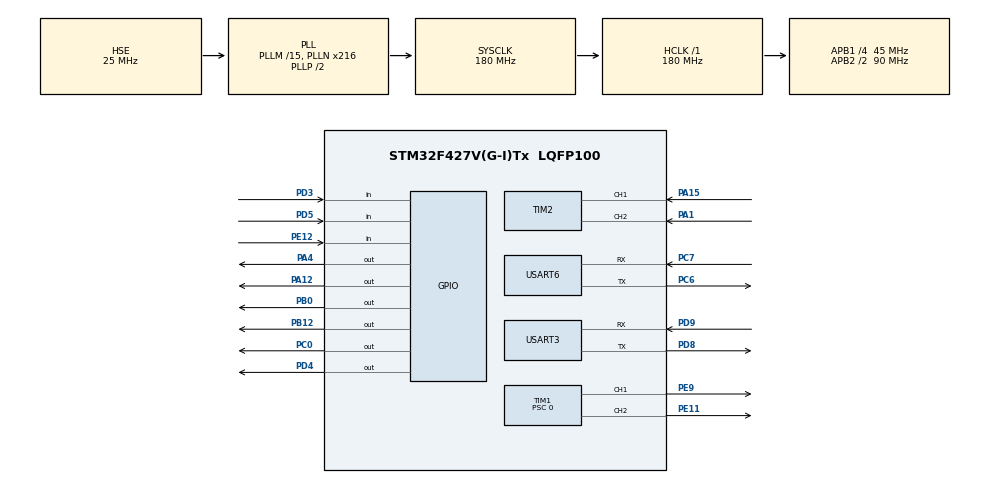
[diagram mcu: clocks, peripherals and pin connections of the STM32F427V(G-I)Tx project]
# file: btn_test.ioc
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Dma.Request0=USART6_RX
Dma.Request1=USART6_TX
Dma.USART6_RX.0.Direction=DMA_PERIPH_TO_MEMORY
Dma.USART6_RX.0.FIFOMode=DMA_FIFOMODE_DISABLE
Dma.USART6_RX.0.Instance=DMA2_Stream1
Dma.USART6_RX.0.MemDataAlignment=DMA_MDATAALIGN_BYTE
Dma.USART6_RX.0.MemInc=DMA_MINC_ENABLE
Dma.USART6_RX.0.Mode=DMA_NORMAL
Dma.USART6_RX.0.PeriphDataAlignment=DMA_PDATAALIGN_BYTE
Dma.USART6_RX.0.PeriphInc=DMA_PINC_DISABLE
Dma.USART6_RX.0.Priority=DMA_PRIORITY_LOW
Dma.USART6_TX.1.Direction=DMA_MEMORY_TO_PERIPH
Dma.USART6_TX.1.FIFOMode=DMA_FIFOMODE_DISABLE
Dma.USART6_TX.1.Instance=DMA2_Stream6
Dma.USART6_TX.1.MemDataAlignment=DMA_MDATAALIGN_BYTE
Dma.USART6_TX.1.MemInc=DMA_MINC_ENABLE
Dma.USART6_TX.1.Mode=DMA_NORMAL
Dma.USART6_TX.1.PeriphDataAlignment=DMA_PDATAALIGN_BYTE
Dma.USART6_TX.1.PeriphInc=DMA_PINC_DISABLE
Dma.USART6_TX.1.Priority=DMA_PRIORITY_LOW
FREERTOS.Queues01=BtnQueue,16,uint16_t,0,Dynamic,NULL,NULL;EncoderQueue,16,double,0,Dynamic,NULL,NULL
FREERTOS.Tasks01=BtnTask,8,128,StartBtnTask,As weak,NULL,Dynamic,NULL,NULL;MotorTask,24,128,StartMotorTask,As external,NULL,Dynamic,NULL,NULL;PIDTask,32,128,StartPIDTask,As external,NULL,Dynamic,NULL,NULL;GetPIDTask,40,128,StartGetPIDTask,As external,NULL,Dynamic,NULL,NULL
Mcu.Family=STM32F4
Mcu.Name=STM32F427V(G-I)Tx
Mcu.Package=LQFP100
NVIC.DMA2_Stream1_IRQn=true\:5\:0\:false\:false\:true\:true\:false\:true\:true
NVIC.DMA2_Stream6_IRQn=true\:5\:0\:false\:false\:true\:true\:false\:true\:true
NVIC.PriorityGroup=NVIC_PRIORITYGROUP_4
NVIC.TIM1_BRK_TIM9_IRQn=true\:5\:0\:false\:false\:true\:true\:true\:true\:true
NVIC.TIM2_IRQn=true\:5\:0\:false\:false\:true\:true\:true\:true\:true
NVIC.TIM7_IRQn=true\:15\:0\:false\:false\:true\:false\:false\:true\:true
NVIC.TimeBase=TIM7_IRQn
NVIC.TimeBaseIP=TIM7
NVIC.USART3_IRQn=true\:5\:0\:false\:false\:true\:true\:true\:true\:true
NVIC.USART6_IRQn=true\:5\:0\:false\:false\:true\:true\:true\:true\:true
PA1.Signal=S_TIM2_CH2
PA12.Signal=GPIO_Output
PA13.Mode=Serial_Wire
PA13.Signal=SYS_JTMS-SWDIO
PA14.Mode=Serial_Wire
PA14.Signal=SYS_JTCK-SWCLK
PA15.Signal=S_TIM2_CH1_ETR
PA4.GPIO_PuPd=GPIO_NOPULL
PA4.Signal=GPIO_Output
PB0.GPIO_PuPd=GPIO_NOPULL
PB0.Signal=GPIO_Output
PB12.Signal=GPIO_Output
PC0.GPIO_ModeDefaultOutputPP=GPIO_MODE_OUTPUT_OD
PC0.GPIO_PuPd=GPIO_PULLUP
PC0.Signal=GPIO_Output
PC6.Mode=Asynchronous
PC6.Signal=USART6_TX
PC7.Mode=Asynchronous
PC7.Signal=USART6_RX
PD3.GPIO_PuPd=GPIO_PULLUP
PD3.Signal=GPIO_Input
PD4.GPIO_PuPd=GPIO_PULLDOWN
PD4.Signal=GPIO_Output
PD5.GPIO_PuPd=GPIO_PULLUP
PD5.Signal=GPIO_Input
PD8.Mode=Asynchronous
PD8.Signal=USART3_TX
PD9.Mode=Asynchronous
PD9.Signal=USART3_RX
PE11.Signal=S_TIM1_CH2
PE12.GPIO_PuPd=GPIO_PULLUP
PE12.Signal=GPIO_Input
PE9.Signal=S_TIM1_CH1
PH0/OSC_IN.Mode=HSE-External-Clock-Source
PH0/OSC_IN.Signal=RCC_OSC_IN
PH1/OSC_OUT.Mode=HSE-External-Clock-Source
PH1/OSC_OUT.Signal=RCC_OSC_OUT
ProjectManager.HeapSize=0x200
ProjectManager.StackSize=0x400
ProjectManager.TargetToolchain=Makefile
RCC.48MHZClocksFreq_Value=90000000
RCC.AHBFreq_Value=180000000
RCC.APB1CLKDivider=RCC_HCLK_DIV4
RCC.APB1Freq_Value=45000000
RCC.APB1TimFreq_Value=90000000
RCC.APB2CLKDivider=RCC_HCLK_DIV2
RCC.APB2Freq_Value=90000000
RCC.APB2TimFreq_Value=180000000
RCC.CortexFreq_Value=180000000
RCC.HCLKFreq_Value=180000000
RCC.HSE_VALUE=25000000
RCC.HSI_VALUE=16000000
RCC.LSE_VALUE=32768
RCC.PLLM=15
RCC.PLLN=216
RCC.PLLSourceVirtual=RCC_PLLSOURCE_HSE
RCC.SYSCLKFreq_VALUE=180000000
RCC.SYSCLKSource=RCC_SYSCLKSOURCE_PLLCLK
RCC.VCOOutputFreq_Value=360000000
SH.S_TIM1_CH1.0=TIM1_CH1,PWM Generation1 CH1
SH.S_TIM1_CH2.0=TIM1_CH2,PWM Generation2 CH2
SH.S_TIM2_CH1_ETR.0=TIM2_CH1,Encoder_Interface
SH.S_TIM2_CH2.0=TIM2_CH2,Encoder_Interface
TIM1.Channel-PWM\ Generation1\ CH1=TIM_CHANNEL_1
TIM1.Channel-PWM\ Generation2\ CH2=TIM_CHANNEL_2
TIM1.Period=8999
TIM1.Prescaler=0
TIM14.Period=9999
TIM14.Prescaler=89
TIM9.Period=9999
TIM9.Prescaler=179
USART3.VirtualMode=VM_ASYNC
USART6.VirtualMode=VM_ASYNC
VP_FREERTOS_VS_CMSIS_V2.Mode=CMSIS_V2
VP_SYS_VS_tim7.Mode=TIM7
VP_TIM14_VS_ClockSourceINT.Mode=Enable_Timer
VP_TIM1_VS_ClockSourceINT.Mode=Internal
VP_TIM9_VS_ClockSourceINT.Mode=Internal
board=custom

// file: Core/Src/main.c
/* USER CODE BEGIN Header */
/**
 ******************************************************************************
 * @file           : main.c
 * @brief          : Main program body
 ******************************************************************************
 * @attention
 *
 * Copyright (c) 2026 STMicroelectronics.
 * All rights reserved.
 *
 * This software is licensed under terms that can be found in the LICENSE file
 * in the root directory of this software component.
 * If no LICENSE file comes with this software, it is provided AS-IS.
 *
 ******************************************************************************
 */
/* USER CODE END Header */
#include "main.h"
#include "cmsis_os.h"
#include "dma.h"
#include "tim.h"
#include "usart.h"
#include "gpio.h"

/* USER CODE BEGIN Includes */
#include "multi_button.h"
#include "Emm_V5.h"
#include "motor.h"
#include "pid.h"
#include "stdio.h"
#include "stdlib.h"

/* USER CODE END Includes */

void SystemClock_Config(void);
void MX_FREERTOS_Init(void);

/* USER CODE BEGIN 0 */
uint8_t RxData;
int _write(int file, char *ptr, int len)
{
  HAL_UART_Transmit(&huart3, (uint8_t *)ptr, len, HAL_MAX_DELAY);
  return len;
}

/* USER CODE END 0 */

int main(void)
{

  /* MCU Configuration--------------------------------------------------------*/

  /* Reset of all peripherals, Initializes the Flash interface and the Systick. */
  HAL_Init();

  /* Configure the system clock */
  SystemClock_Config();

  /* USER CODE BEGIN SysInit */
  HAL_Delay(1000);

  /* USER CODE END SysInit */

  /* Initialize all configured peripherals */
  MX_GPIO_Init();
  MX_DMA_Init();
  MX_USART6_UART_Init();
  MX_TIM2_Init();
  MX_TIM1_Init();
  MX_TIM9_Init();
  MX_USART3_UART_Init();
  MX_TIM14_Init();
  /* USER CODE BEGIN 2 */

  HAL_TIM_PWM_Start(&htim1, TIM_CHANNEL_1);
  HAL_TIM_PWM_Start(&htim1, TIM_CHANNEL_2);
  // HAL_TIM_Base_Start_IT(&htim2);
  HAL_TIM_Encoder_Start(&htim2, TIM_CHANNEL_ALL);
  HAL_TIM_Base_Start_IT(&htim9);

  setvbuf(stdout, NULL, _IONBF, 0);
  HAL_UART_Receive_IT(&huart3, &RxData, 1);

  // __HAL_TIM_SET_COMPARE(&htim1, TIM_CHANNEL_1, 2000);
  // HAL_GPIO_WritePin(GPIOD, GPIO_PIN_4, GPIO_PIN_SET);
  // HAL_GPIO_WritePin(GPIOC, GPIO_PIN_0, 1);

  // Motor_Init();
  // Motor_Set_Vel(6000);

  /* USER CODE END 2 */

  /* Init scheduler */
  osKernelInitialize(); /* Call init function for freertos objects (in freertos.c) */
  MX_FREERTOS_Init();

  /* Start scheduler */
  osKernelStart();

  /* We should never get here as control is now taken by the scheduler */
  /* Infinite loop */
  while (1)
  {

    /* USER CODE BEGIN 3 */
    // HAL_GPIO_TogglePin(GPIOC, GPIO_PIN_0);
    // HAL_Delay(500);
  }
  /* USER CODE END 3 */
}

void SystemClock_Config(void)
{
  RCC_OscInitTypeDef RCC_OscInitStruct = {0};
  RCC_ClkInitTypeDef RCC_ClkInitStruct = {0};

  /** Configure the main internal regulator output voltage
   */
  __HAL_RCC_PWR_CLK_ENABLE();
  __HAL_PWR_VOLTAGESCALING_CONFIG(PWR_REGULATOR_VOLTAGE_SCALE1);

  /** Initializes the RCC Oscillators according to the specified parameters
   * in the RCC_OscInitTypeDef structure.
   */
  RCC_OscInitStruct.OscillatorType = RCC_OSCILLATORTYPE_HSE;
  RCC_OscInitStruct.HSEState = RCC_HSE_BYPASS;
  RCC_OscInitStruct.PLL.PLLState = RCC_PLL_ON;
  RCC_OscInitStruct.PLL.PLLSource = RCC_PLLSOURCE_HSE;
  RCC_OscInitStruct.PLL.PLLM = 15;
  RCC_OscInitStruct.PLL.PLLN = 216;
  RCC_OscInitStruct.PLL.PLLP = RCC_PLLP_DIV2;
  RCC_OscInitStruct.PLL.PLLQ = 4;
  if (HAL_RCC_OscConfig(&RCC_OscInitStruct) != HAL_OK)
  {
    Error_Handler();
  }

  /** Activate the Over-Drive mode
   */
  if (HAL_PWREx_EnableOverDrive() != HAL_OK)
  {
    Error_Handler();
  }

  /** Initializes the CPU, AHB and APB buses clocks
   */
  RCC_ClkInitStruct.ClockType = RCC_CLOCKTYPE_HCLK | RCC_CLOCKTYPE_SYSCLK | RCC_CLOCKTYPE_PCLK1 | RCC_CLOCKTYPE_PCLK2;
  RCC_ClkInitStruct.SYSCLKSource = RCC_SYSCLKSOURCE_PLLCLK;
  RCC_ClkInitStruct.AHBCLKDivider = RCC_SYSCLK_DIV1;
  RCC_ClkInitStruct.APB1CLKDivider = RCC_HCLK_DIV4;
  RCC_ClkInitStruct.APB2CLKDivider = RCC_HCLK_DIV2;

  if (HAL_RCC_ClockConfig(&RCC_ClkInitStruct, FLASH_LATENCY_5) != HAL_OK)
  {
    Error_Handler();
  }
}

/* USER CODE BEGIN 4 */
volatile double now_vel = 2.0;
int getTIMx_DetaCnt(TIM_HandleTypeDef *htim)
{
  int cnt;
  cnt = htim->Instance->CNT - 0x7FFF;
  htim->Instance->CNT = 0x7fff;
  return cnt;
}

double Get_Motor_Speed(TIM_HandleTypeDef *htim)
{
  return (double)getTIMx_DetaCnt(htim) / 2.72; // round/100s
}

float PID_K[3] = {1.0, 1.0, 1.0};
HAL_UART_RxCpltCallback(UART_HandleTypeDef *huart)
{

  if (huart == &huart3)
  {
    static uint8_t RxIndex;
    static uint8_t RxPacket[128];
    static enum {
      Wait_Head,           // 等待包头
      Wait_Flag,           // 等待接收标识
      Wait_Data            // 等待接收数据
    } RxState = Wait_Head; // 初始状�?�为等待�????

    static enum {
      CMD_NONE,              // 空状�????
      CMD_Kp,                // Kp
      CMD_Ki,                // Ki
      CMD_Kd                 // Kd
    } CurrentCmd = CMD_NONE; // 初始为空状�??

    switch (RxState)
    {
    case Wait_Head:
      if (RxData == 'K')
      {
        RxState = Wait_Flag;
      }
      break;
    case Wait_Flag:
      if (RxData == 'P')
      {
        CurrentCmd = CMD_Kp;
        RxState = Wait_Data;
        RxIndex = 0;
      }
      else if (RxData == 'I')
      {
        CurrentCmd = CMD_Ki;
        RxState = Wait_Data;
        RxIndex = 0;
      }
      else if (RxData == 'D')
      {
        CurrentCmd = CMD_Kd;
        RxState = Wait_Data;
        RxIndex = 0;
      }
      else
        RxState = Wait_Head;
      break;

    case Wait_Data:
      if (RxData == 'M')
      {
        RxPacket[RxIndex] = '\0';
        uint8_t *endptr;
        float NewValue = strtof((char *)RxPacket, (char **)&endptr); // 双重转换
        if (endptr != RxPacket && *endptr == '\0')
        {
          switch (CurrentCmd)
          {
          case CMD_Kp:
            PID_K[0] = NewValue;
            // printf("Kp updated:%.2f\n",PID_K[0]);
            break;
          case CMD_Ki:
            PID_K[1] = NewValue;
            // printf("Ki updated:%.2f\n",PID_K[1]);
            break;
          case CMD_Kd:
            PID_K[2] = NewValue;
            // printf("Kd updated:%.2f\n",PID_K[2]);
            break;
          case CMD_NONE:
            break;
          }
        }
        else
          // printf("Error:%s\n",RxPacket);
          RxState = Wait_Head;
        CurrentCmd = CMD_NONE;
      }
      else
      {
        if (RxIndex < sizeof(RxPacket) - 1)
        {
          RxPacket[RxIndex++] = RxData;
        }
        else
        {
          RxState = Wait_Head;
        }
      }
      break;
    default:
      RxState = Wait_Head;
      break;
    }

    // HAL_UART_Transmit(&huart3,'1',1,100);
    HAL_UART_Receive_IT(&huart3, &RxData, 1);
  }
}

/* USER CODE END 4 */

void HAL_TIM_PeriodElapsedCallback(TIM_HandleTypeDef *htim)
{
  if (htim->Instance == TIM7)
  {
    HAL_IncTick();
  }
  /* USER CODE BEGIN Callback 1 */
  if (htim->Instance == TIM9)
  {
    now_vel = Get_Motor_Speed(&htim2);
    BaseType_t wake = pdFALSE;
    vTaskNotifyGiveFromISR(PIDTaskHandle, &wake);
    portYIELD_FROM_ISR(wake);
    printf("Speed:%.3f\n", now_vel);
  }

  if (htim->Instance == TIM14)
  {
    // BaseType_t xHigherPriorityTaskWoken = pdFALSE;

    // vTaskNotifyGiveFromISR(PIDTaskHandle, &xHigherPriorityTaskWoken);

    // portYIELD_FROM_ISR(xHigherPriorityTaskWoken);
  }

  /* USER CODE END Callback 1 */
}

void Error_Handler(void)
{
  __disable_irq();
  while (1)
  {
  }
}

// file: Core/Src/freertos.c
/* USER CODE BEGIN Header */
/**
  ******************************************************************************
  * File Name          : freertos.c
  * Description        : Code for freertos applications
  ******************************************************************************
  * @attention
  *
  * Copyright (c) 2026 STMicroelectronics.
  * All rights reserved.
  *
  * This software is licensed under terms that can be found in the LICENSE file
  * in the root directory of this software component.
  * If no LICENSE file comes with this software, it is provided AS-IS.
  *
  ******************************************************************************
  */
/* USER CODE END Header */

#include "FreeRTOS.h"
#include "task.h"
#include "main.h"
#include "cmsis_os.h"

/* Definitions for BtnTask */
osThreadId_t BtnTaskHandle;
const osThreadAttr_t BtnTask_attributes = {
  .name = "BtnTask",
  .stack_size = 128 * 4,
  .priority = (osPriority_t) osPriorityLow,
};
/* Definitions for MotorTask */
osThreadId_t MotorTaskHandle;
const osThreadAttr_t MotorTask_attributes = {
  .name = "MotorTask",
  .stack_size = 128 * 4,
  .priority = (osPriority_t) osPriorityNormal,
};
/* Definitions for PIDTask */
osThreadId_t PIDTaskHandle;
const osThreadAttr_t PIDTask_attributes = {
  .name = "PIDTask",
  .stack_size = 128 * 4,
  .priority = (osPriority_t) osPriorityAboveNormal,
};
/* Definitions for GetPIDTask */
osThreadId_t GetPIDTaskHandle;
const osThreadAttr_t GetPIDTask_attributes = {
  .name = "GetPIDTask",
  .stack_size = 128 * 4,
  .priority = (osPriority_t) osPriorityHigh,
};
/* Definitions for BtnQueue */
osMessageQueueId_t BtnQueueHandle;
const osMessageQueueAttr_t BtnQueue_attributes = {
  .name = "BtnQueue"
};
/* Definitions for EncoderQueue */
osMessageQueueId_t EncoderQueueHandle;
const osMessageQueueAttr_t EncoderQueue_attributes = {
  .name = "EncoderQueue"
};

void StartBtnTask(void *argument);
extern void StartMotorTask(void *argument);
extern void StartPIDTask(void *argument);
extern void StartGetPIDTask(void *argument);

void MX_FREERTOS_Init(void); /* (MISRA C 2004 rule 8.1) */

void MX_FREERTOS_Init(void) {

  /* Create the queue(s) */
  /* creation of BtnQueue */
  BtnQueueHandle = osMessageQueueNew (16, sizeof(uint16_t), &BtnQueue_attributes);

  /* creation of EncoderQueue */
  EncoderQueueHandle = osMessageQueueNew (16, sizeof(double), &EncoderQueue_attributes);

  /* Create the thread(s) */
  /* creation of BtnTask */
  BtnTaskHandle = osThreadNew(StartBtnTask, NULL, &BtnTask_attributes);

  /* creation of MotorTask */
  MotorTaskHandle = osThreadNew(StartMotorTask, NULL, &MotorTask_attributes);

  /* creation of PIDTask */
  PIDTaskHandle = osThreadNew(StartPIDTask, NULL, &PIDTask_attributes);

  /* creation of GetPIDTask */
  GetPIDTaskHandle = osThreadNew(StartGetPIDTask, NULL, &GetPIDTask_attributes);

}

__weak void StartBtnTask(void *argument)
{
  for(;;)
  {
    osDelay(1);
  }
}
